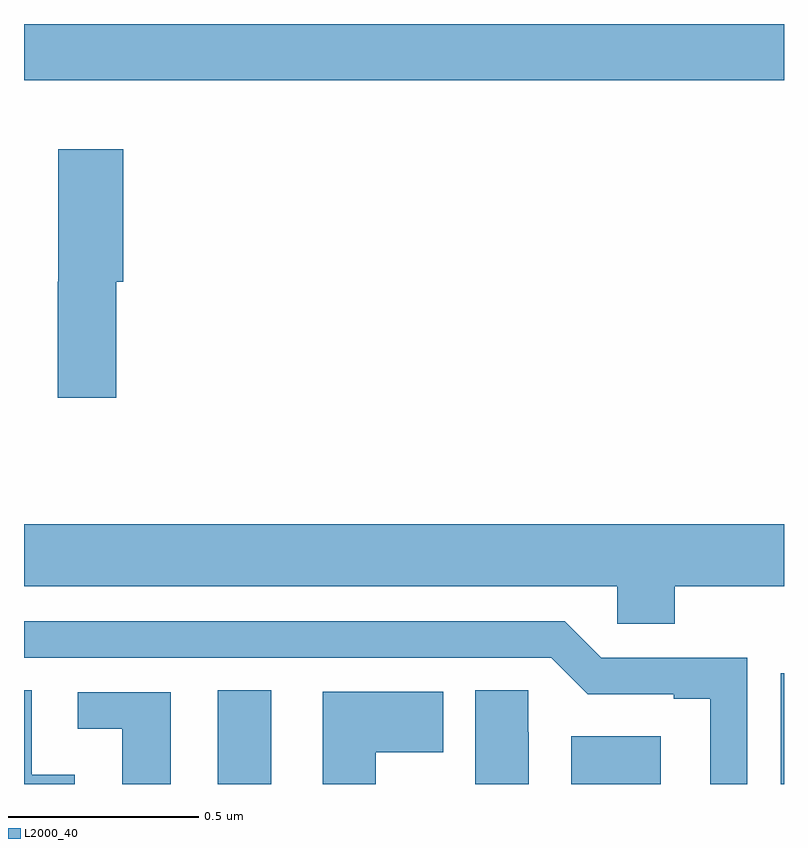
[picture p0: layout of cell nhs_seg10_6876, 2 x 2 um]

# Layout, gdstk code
import gdstk
lib = gdstk.Library(unit=1e-6, precision=1e-09)
def R(c, l, rs):  # rectangles x0, y0, x1, y1
    for r in rs: c.add(gdstk.rectangle(r[:2], r[2:], *l))
def P(c, l, *ps):  # polygons
    for p in ps: c.add(gdstk.Polygon(p, *l))
L2000_40 = (2000, 40)

nhs_seg10_6876 = lib.new_cell('nhs_seg10_6876')
R(nhs_seg10_6876, L2000_40, [(197.51,1262.5,197.65,1262.747), (198.44,1262.5,198.676,1262.626), (197,1264.352,199,1264.5)])
P(nhs_seg10_6876, L2000_40, [(197.243,1263.822),(197.261,1263.822),(197.261,1264.171),(197.09,1264.171),(197.09,1263.822),(197.089,1263.822),(197.089,1263.516),(197.243,1263.516)],
  [(198.713,1263.02),(199,1263.02),(199,1263.184),(197,1263.184),(197,1263.02),(198.561,1263.02),(198.561,1262.922),(198.713,1262.922)],
  [(198.903,1262.832),(198.519,1262.832),(198.423,1262.928),(197,1262.928),(197,1262.832),(198.387,1262.832),(198.483,1262.736),(198.71,1262.736),(198.71,1262.724),(198.806,1262.724),(198.806,1262.5),(198.903,1262.5)],
  [(199,1262.791),(198.992,1262.791),(198.992,1262.555),(198.991,1262.555),(198.991,1262.5),(199,1262.5)],
  [(198.328,1262.636),(198.327,1262.636),(198.327,1262.747),(198.188,1262.747),(198.188,1262.5),(198.328,1262.5)],
  [(197.134,1262.524),(197.02,1262.524),(197.02,1262.747),(197,1262.747),(197,1262.5),(197.134,1262.5)],
  [(197.926,1262.584),(198.103,1262.584),(198.103,1262.743),(197.786,1262.743),(197.786,1262.5),(197.926,1262.5)],
  [(197.386,1262.742),(197.142,1262.742),(197.142,1262.646),(197.258,1262.646),(197.258,1262.5),(197.386,1262.5)])

lib.write_gds('nhs_seg10_6876.gds')
